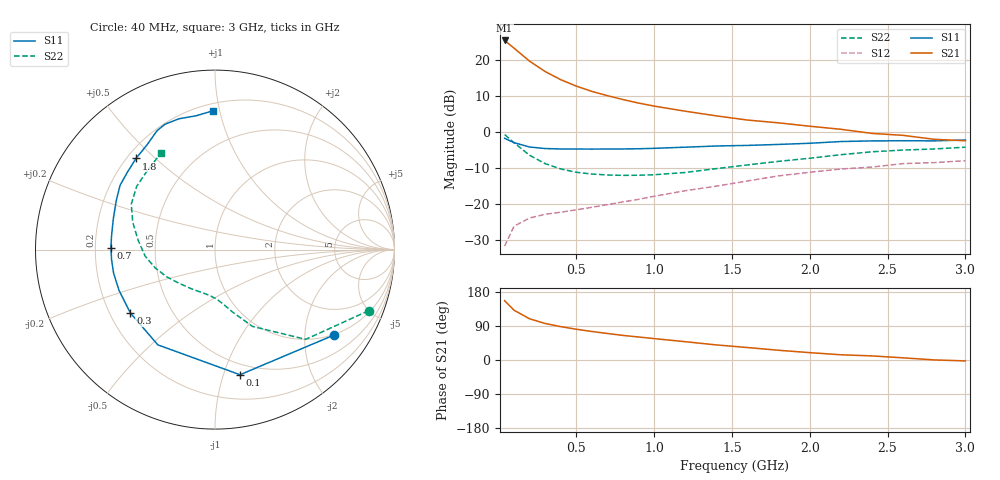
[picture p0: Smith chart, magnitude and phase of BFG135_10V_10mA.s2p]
! Filename:  BFG135A.S2P  Version:  2.1
! Philips part #: BFG135  Date: Dec 1990
! Bias condition: Vce=10V, Ic=10mA
#  MHz  S  MA  R  50
! Freq  S11  S21  S12  S22  !GUM [dB]
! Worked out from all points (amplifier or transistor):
!   21 points, 40 MHz to 3 GHz, reference 50 ohm
!   highest |S21| = 25.4 dB at 40 MHz (marker M1)
!   |S21| within 3 dB of that: start of sweep to 124.4 MHz
!   unconditionally stable (mu >= 1): 635.2 MHz to 2.195 GHz; 2.203 GHz to end of sweep
!   at 300 MHz: K = 0.61, MSG = 19.8 dB, |S12| = -22.9 dB
!   at 1 GHz: K = 1.14, MAG = 10.3 dB, |S12| = -17.9 dB
!   at 3 GHz: K = 1.04, MAG = 1.6 dB, |S12| = -8.0 dB
!   S11 on the Smith chart (normalised r, x): 40 MHz: 0.98, -2.81; 100 MHz: 0.40, -1.14; 300 MHz: 0.29, -0.31; 700 MHz: 0.27, +0.01; 1.8 GHz: 0.24, +0.44; 3 GHz: 0.25, +0.96
40  0.817 -35.6  18.64 156.6  0.026 72.1  0.921 -21.7
100  0.711 -78.7  14.61 131.5  0.049 52.9  0.711 -44.7
200  0.619 -121.0  9.63 108.8  0.064 42.0  0.476 -64.0
300  0.589 -143.2  6.908 96.4  0.072 40.4  0.364 -74.0
400  0.581 -156.9  5.328 88.1  0.077 42.3  0.307 -81.4
500  0.58 -166.9  4.337 81.2  0.083 44.9  0.276 -88.1
600  0.579 -174.3  3.662 75.3  0.09 48.2  0.261 -94.5
700  0.58 179.1  3.194 70.0  0.098 51.1  0.253 -101.1
800  0.581 173.2  2.82 64.9  0.107 53.9  0.25 -107.7
900  0.585 167.7  2.521 60.7  0.116 56.3  0.251 -114.4
1000  0.593 162.5  2.289 56.5  0.128 58.6  0.255 -121.6
1200  0.615 153.3  1.943 48.3  0.153 61.1  0.274 -136.6
1400  0.639 145.8  1.674 39.8  0.177 61.7  0.31 -150.9
1600  0.651 138.7  1.464 32.9  0.209 62.2  0.349 -163.2
1800  0.672 130.9  1.339 25.7  0.246 58.9  0.391 -174.7
2000  0.697 122.7  1.202 19.4  0.276 56.8  0.432 172.9
2200  0.737 116.0  1.09 13.8  0.306 53.4  0.484 161.4
2400  0.752 111.7  0.955 10.8  0.326 51.4  0.531 151.4
2600  0.756 105.4  0.898 5.7  0.364 45.8  0.561 141.0
2800  0.753 98.0  0.791 0.2  0.376 39.4  0.581 130.1
3000  0.774 90.7  0.755 -2.4  0.399 36.3  0.615 119.4
